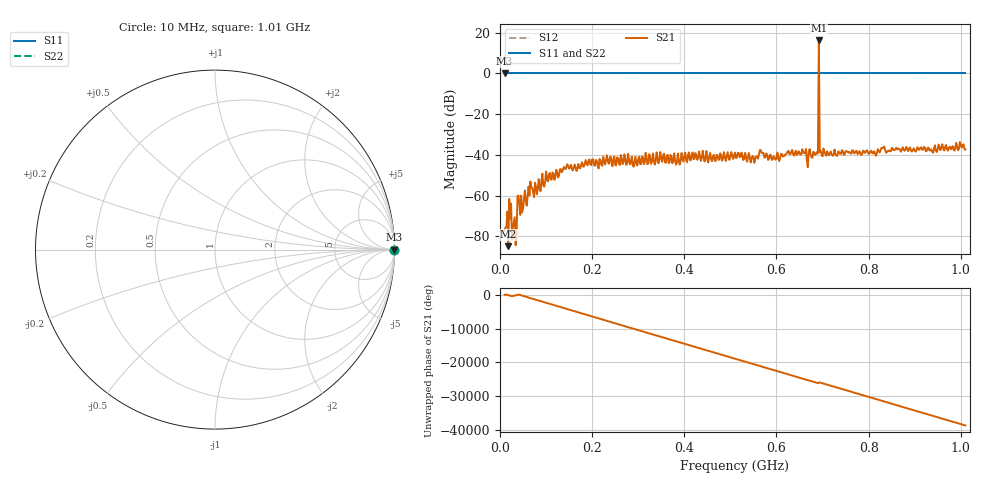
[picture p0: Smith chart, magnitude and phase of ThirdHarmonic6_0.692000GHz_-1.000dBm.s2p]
! 8/15/2025 11:07:13 PM
! C:\ANRITSUVNA\TEMP\TEMP.S2P
! CHANNEL.1
! TR.MEASUREMENT
! RAW.DATA
! RF.CORRECTION.OFF
! AVERAGING.OFF
! IF.BANDWIDTH: 5KHZ
! SWEEPTYPE:  FREQ.SWEEP(Linear)
! Reference Plane Port Info
! PORT:  PORT1  PORT2
! DISTANCE:  0  m  0  m
! TIME:  0  s  0  s
! PHASE.OFFSET:  0  deg.  0  deg.
! LOSS:  0  dB  0  dB
! REF.LOSS:  0  dB  0  dB
! REF.FREQ:  0  Hz  0  Hz
! Power Info
! POWER:  -20  dBm  -20  dBm
! EFF.POWER:  -20  dBm  -20  dBm
! SOURCE.ATTEN:  0  dB  0  dB
! TEST.ATTEN:  0  dB  0  dB
# GHZ S RI R 50.0
! FREQ.GHZ  S11RE  S11IM  S21RE  S21IM  S12RE  S12IM  S22RE  S22IM
!; PortSelection: Port_12
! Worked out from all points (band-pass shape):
!   501 points, 10 MHz to 1.01 GHz, reference 50 ohm
!   highest |S21| = 16.12 dB at 692 MHz (marker M1); lowest = -84.8 dB at 18 MHz (marker M2)
!   |S21| within 3 dB of the highest: 691.8917 MHz to 692.1096 MHz (217.9 kHz wide, 0.0315 % of centre)
!   lowest |S11| = 0.0 dB at 10 MHz (marker M3)
!   |S11| at or under -10 dB: nowhere
!   |S22| runs from 0.0 to 0.0 dB; largest |S21 - S12| = 5.7
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0.01  1 0  3.29e-05 -0.000135  1 0  1 0
0.018  1 0  -3.97e-05 -4.18e-05  1 0  1 0
0.02  1 0  -0.000605 0.000571  1 0  1 0
0.032  1 0  0.000227 0.000189  1 0  1 0
0.042  1 0  -8.32e-05 -0.000633  1 0  1 0
0.048  1 0  0.000327 0.000208  1 0  1 0
0.066  1 0  0.00147 0.00167  1 0  1 0
0.076  1 0  0.00186 0.000915  1 0  1 0
0.104  1 0  0.00164 -0.00151  1 0  1 0
0.142  1 0  -0.00395 -0.00212  1 0  1 0
0.178  1 0  -0.00641 -0.00168  1 0  1 0
0.344  1 0  0.00622 0.000334  1 0  1 0
0.386  1 0  -0.00545 0.0093  1 0  1 0
0.51  1 0  -0.0113 0.00075  1 0  1 0
0.678  1 0  0.00324 -0.00784  1 0  1 0
0.686  1 0  0.00936 -0.00485  1 0  1 0
0.688  1 0  -0.00457 -0.0109  1 0  1 0
0.692  1 0  4.512 -4.532  1 0  1 0
0.696  1 0  0.0011 -0.0123  1 0  1 0
0.698  1 0  -0.00984 -0.00301  1 0  1 0
0.844  1 0  -0.00383 0.0122  1 0  1 0
1.01  1 0  0.00524 -0.0124  1 0  1 0
